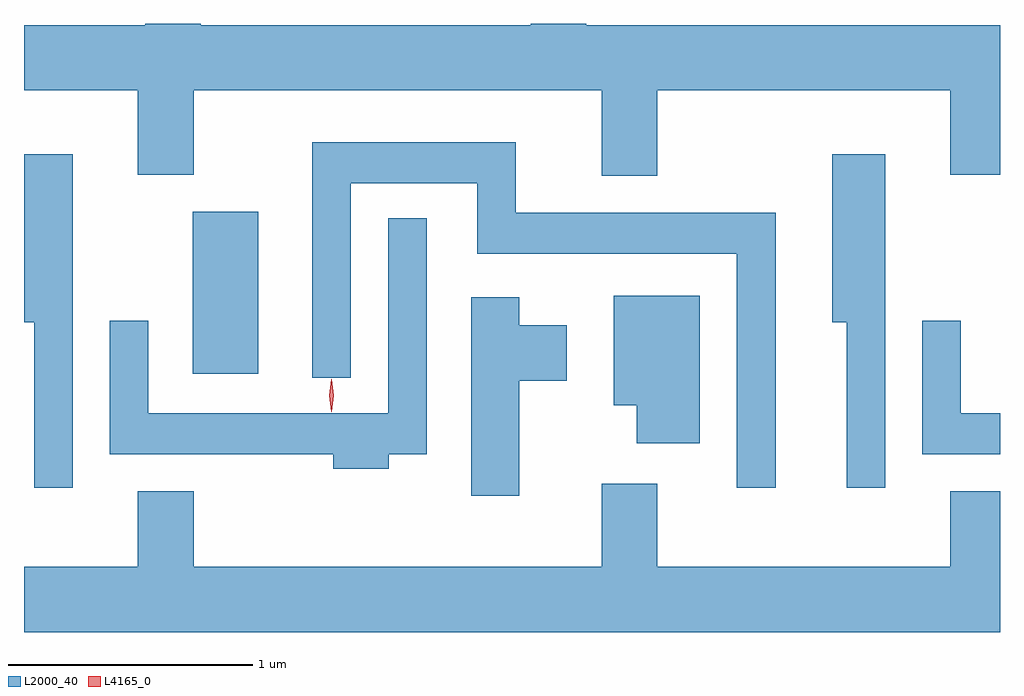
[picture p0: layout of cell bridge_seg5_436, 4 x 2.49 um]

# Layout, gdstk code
import gdstk
lib = gdstk.Library(unit=1e-6, precision=1e-09)
def R(c, l, rs):  # rectangles x0, y0, x1, y1
    for r in rs: c.add(gdstk.rectangle(r[:2], r[2:], *l))
def P(c, l, *ps):  # polygons
    for p in ps: c.add(gdstk.Polygon(p, *l))
L2000_40 = (2000, 40)
L4165_0 = (4165, 0)

bridge_seg5_436 = lib.new_cell('bridge_seg5_436')
R(bridge_seg5_436, L2000_40, [(359.196,1491.156,359.464,1491.819)])
P(bridge_seg5_436, L2000_40, [(361.099,1492.316),(362.301,1492.316),(362.301,1491.971),(362.504,1491.971),(362.504,1492.584),(360.809,1492.584),(360.809,1492.589),(360.581,1492.589),(360.581,1492.584),(359.229,1492.584),(359.229,1492.589),(359.001,1492.589),(359.001,1492.584),(358.504,1492.584),(358.504,1492.316),(358.971,1492.316),(358.971,1491.971),(359.199,1491.971),(359.199,1492.316),(360.871,1492.316),(360.871,1491.966),(361.099,1491.966)],
  [(361.584,1491.814),(360.519,1491.814),(360.519,1492.104),(359.686,1492.104),(359.686,1491.138),(359.844,1491.138),(359.844,1491.936),(360.361,1491.936),(360.361,1491.646),(361.426,1491.646),(361.426,1490.688),(361.584,1490.688)],
  [(358.704,1492.054),(358.504,1492.054),(358.504,1491.366),(358.546,1491.366),(358.546,1490.688),(358.704,1490.688)],
  [(362.034,1492.054),(361.816,1492.054),(361.816,1491.366),(361.876,1491.366),(361.876,1490.688),(362.034,1490.688)],
  [(359.999,1490.826),(360.154,1490.826),(360.154,1491.793),(359.996,1491.793),(359.996,1490.994),(359.014,1490.994),(359.014,1491.373),(358.856,1491.373),(358.856,1490.826),(359.771,1490.826),(359.771,1490.766),(359.999,1490.766)],
  [(361.274,1491.474),(360.921,1491.474),(360.921,1491.026),(361.016,1491.026),(361.016,1490.871),(361.274,1490.871)],
  [(360.534,1491.126),(360.729,1491.126),(360.729,1491.354),(360.534,1491.354),(360.534,1491.469),(360.336,1491.469),(360.336,1490.656),(360.534,1490.656)],
  [(362.504,1490.994),(362.344,1490.994),(362.344,1491.373),(362.186,1491.373),(362.186,1490.826),(362.504,1490.826)],
  [(362.504,1490.674),(362.301,1490.674),(362.301,1490.364),(361.099,1490.364),(361.099,1490.704),(360.871,1490.704),(360.871,1490.364),(359.199,1490.364),(359.199,1490.674),(358.971,1490.674),(358.971,1490.364),(358.504,1490.364),(358.504,1490.096),(362.504,1490.096)])
P(bridge_seg5_436, L4165_0, [(359.764,1490.999),(359.764,1491),(359.754,1491.066),(359.764,1491.132),(359.764,1491.133),(359.765,1491.132),(359.774,1491.066),(359.765,1491)])

lib.write_gds('bridge_seg5_436.gds')
